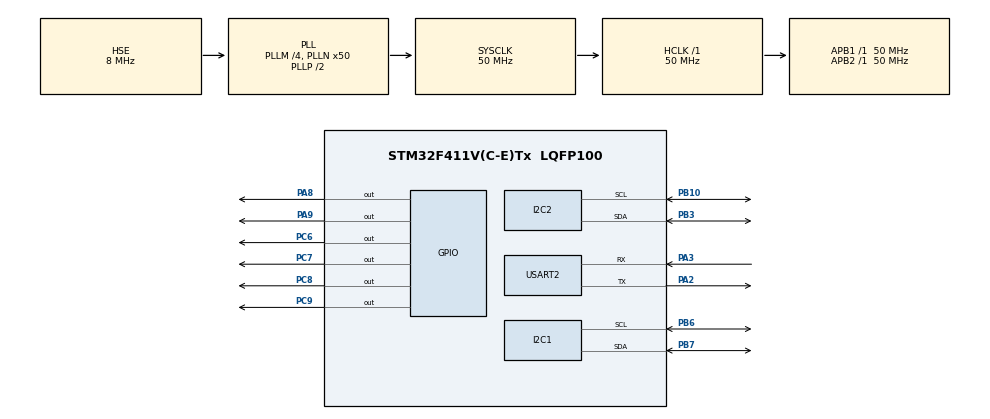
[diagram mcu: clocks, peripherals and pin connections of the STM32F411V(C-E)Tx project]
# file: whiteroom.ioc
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Mcu.Family=STM32F4
RCC.PLLSourceVirtual=RCC_PLLSOURCE_HSE
RCC.CortexFreq_Value=50000000
PB10.Mode=I2C
PH1\ -\ OSC_OUT.Mode=HSE-External-Oscillator
PC8.Signal=GPIO_Output
PC6.Signal=GPIO_Output
NVIC.USART2_IRQn=true\:0\:0\:false\:false\:true\:true\:true
RCC.SYSCLKSource=RCC_SYSCLKSOURCE_PLLCLK
ProjectManager.StackSize=0x400
PA13.Signal=SYS_JTMS-SWDIO
PA3.Mode=Asynchronous
PH0\ -\ OSC_IN.Mode=HSE-External-Oscillator
PH0\ -\ OSC_IN.Signal=RCC_OSC_IN
ProjectManager.TargetToolchain=STM32CubeIDE
RCC.HCLKFreq_Value=50000000
RCC.APB2TimFreq_Value=50000000
PA9.Signal=GPIO_Output
PB6.Signal=I2C1_SCL
PC7.Signal=GPIO_Output
PB6.Mode=I2C
RCC.LSE_VALUE=32768
RCC.AHBFreq_Value=50000000
PB10.Signal=I2C2_SCL
RCC.HSE_VALUE=8000000
PH1\ -\ OSC_OUT.Signal=RCC_OSC_OUT
PB3.Mode=I2C
board=custom
RCC.VCOOutputFreq_Value=100000000
RCC.APB2Freq_Value=50000000
VP_TIM2_VS_ClockSourceINT.Mode=Internal
PA14.Mode=Serial_Wire
PB7.Signal=I2C1_SDA
PA8.Signal=GPIO_Output
TIM2.Period=0xFFFF - 1
PA13.Mode=Serial_Wire
Mcu.Name=STM32F411V(C-E)Tx
PA2.Signal=USART2_TX
RCC.48MHZClocksFreq_Value=25000000
PB3.Signal=I2C2_SDA
RCC.SYSCLKFreq_VALUE=50000000
Mcu.Package=LQFP100
TIM2.Prescaler=50 - 1
USART2.VirtualMode=VM_ASYNC
PB7.Mode=I2C
PA14.Signal=SYS_JTCK-SWCLK
ProjectManager.HeapSize=0x200
RCC.HSI_VALUE=16000000
NVIC.PriorityGroup=NVIC_PRIORITYGROUP_4
RCC.PLLM=4
RCC.PLLN=50
RCC.APB1TimFreq_Value=50000000
PA2.Mode=Asynchronous
PC9.Signal=GPIO_Output
RCC.APB1Freq_Value=50000000
PA3.Signal=USART2_RX

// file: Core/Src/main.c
/* USER CODE BEGIN Header */
/**
  ******************************************************************************
  * @file           : main.c
  * @brief          : Main program body
  ******************************************************************************
  * @attention
  *
  * <h2><center>&copy; Copyright (c) 2021 STMicroelectronics.
  * All rights reserved.</center></h2>
  *
  * This software component is licensed by ST under BSD 3-Clause license,
  * the "License"; You may not use this file except in compliance with the
  * License. You may obtain a copy of the License at:
  *                        opensource.org/licenses/BSD-3-Clause
  *
  ******************************************************************************
  */
/* USER CODE END Header */
#include "main.h"

/* USER CODE BEGIN Includes */
#include "arm_math.h"
#include <stdio.h>
#include "BH1750_Driver.h"
#include "TCA9548A_Driver.h"
#include "StepperDriver.h"
#include "PCA9685Driver.h"

/* USER CODE END Includes */

/* USER CODE BEGIN PD */
#define NUMBER_SENSORS 12
#define DESIRE_LUX 400
#define MAX_LUMEN_LED0 3000
#define MAX_LUMEN_LED1 3000
#define MAX_LUMEN_LED2 3000
#define MAX_LUMEN_LED3 3000
#define MAX_LUMEN_LED4 3000
#define MAX_LUMEN_LED5 3000
#define MAX_LUMEN_LED6 3000
#define MAX_LUMEN_LED7 3000
#define MAX_LUMEN_LED8 3000
#define MAX_LUMEN_LED9 3000
#define MAX_LUMEN_LED10 3000
#define MAX_LUMEN_LED11 3000

#define EFFICIENCY 0.995

// The size of data transmits between PC and MicroController
#define SIZE_DATA 11

// MAX and MIN for STEPPER
#define STEP0_MAX 295
#define STEP0_MIN 55

#define STEP1_MAX 400
#define STEP1_MIN 160

#define STEP2_MAX 505
#define STEP2_MIN 265

#define SAFE_DISTANCE 105

// PCA9685
#define DELAY_LED 410

/* USER CODE END PD */

/* USER CODE BEGIN PV */
/* Private variables ---------------------------------------------------------*/
I2C_HandleTypeDef hi2c1;
I2C_HandleTypeDef hi2c2;
TIM_HandleTypeDef htim2;
UART_HandleTypeDef huart2;

const float32_t arrayFactor[NUMBER_SENSORS * NUMBER_SENSORS] = {
0.03757, 0.01759, 0.00530, 0.00240, 0.01820, 0.01053, 0.00435, 0.00227, 0.00581, 0.00471, 0.00278, 0.00184,
0.01799, 0.03400, 0.01666, 0.00544, 0.01094, 0.01653, 0.01001, 0.00436, 0.00471, 0.00563, 0.00436, 0.00284,
0.00544, 0.01666, 0.03400, 0.01799, 0.00436, 0.01001, 0.01653, 0.01094, 0.00284, 0.00436, 0.00563, 0.00471,
0.00240, 0.00530, 0.01759, 0.03757, 0.00227, 0.00435, 0.01053, 0.01820, 0.00184, 0.00278, 0.00471, 0.00581,
0.01840, 0.01073, 0.00435, 0.00236, 0.03671, 0.01760, 0.00563, 0.00270, 0.01960, 0.01160, 0.00471, 0.00244,
0.01107, 0.01673, 0.01020, 0.00436, 0.01800, 0.03357, 0.01653, 0.00567, 0.01159, 0.01800, 0.01073, 0.00494,
0.00436, 0.01020, 0.01673, 0.01107, 0.00567, 0.01653, 0.03357, 0.01800, 0.00494, 0.01073, 0.01800, 0.01159,
0.00236, 0.00435, 0.01073, 0.01840, 0.00270, 0.00563, 0.01760, 0.03671, 0.00244, 0.00471, 0.01160, 0.01960,
0.00581, 0.00456, 0.00273, 0.00175, 0.01934, 0.01160, 0.00457, 0.00253, 0.04043, 0.01906, 0.00602, 0.00264,
0.00471, 0.00563, 0.00436, 0.00290, 0.01160, 0.01760, 0.01053, 0.00471, 0.01947, 0.03671, 0.01800, 0.00600,
0.00290, 0.00436, 0.00563, 0.00471, 0.00471, 0.01053, 0.01760, 0.01160, 0.00600, 0.01800, 0.03671, 0.01947,
0.00175, 0.00273, 0.00456, 0.00581, 0.00253, 0.00457, 0.01160, 0.01934, 0.00264, 0.00602, 0.01906, 0.04043
};

float32_t arrNeedAddValue[NUMBER_SENSORS];
float32_t arrLastLedSupplied[NUMBER_SENSORS] = {};
float32_t arrLedValue[NUMBER_SENSORS];

// Messages for UART
uint8_t Hello[] = "Welcome to Project: Automatic light intensity balance\n";
uint8_t InitStepperMessage[] = "Setting Current Position of 3 Steppers: Done!\n";
uint8_t TargetStepperMessage[] = "Setting Target Position of 3 Steppers: Done!\n";
uint8_t ReInitSensorMessage[] = "Re-Initialzing Sensor: Done!\n";
uint8_t Done[] = "Running to Target Position: Done!!\n";
uint8_t controlLEDDone[] = "Send data to LED PWM: Done!\n";

// Variables for UART
uint8_t byteTest;
uint8_t dataReceived[SIZE_DATA];
uint16_t info[3];

// PROGRAM MODE
typedef enum {
	IDLE = 0,
	TEST_UART = 1,
	SET_INIT_COOR = 2,
	SET_TARGET_COOR = 3,
	RUN_STEPPER = 4,
	GET_SENSOR = 5,
	CONTROL_LED = 6,
	REINITSENSOR = 7,
	AUTO_CONTROL = 8
} PROGRAM_MODE;

PROGRAM_MODE program = IDLE;

// Variables for STEPPER
Stepper_HandleTypeDef Step0;
Stepper_HandleTypeDef Step1;
Stepper_HandleTypeDef Step2;

// Variables for Sensor and TCA
TCA9548A_HandleTypeDef i2cHub;
BH1750_HandleTypeDef sensor[NUMBER_SENSORS];
char dataSensorMessage[72] = {};
uint16_t dataSensor[NUMBER_SENSORS];
uint8_t ret;

// Variables for PCA and LED
PCA9685_HandleTypeDef pcaHub;
uint16_t intensity[NUMBER_SENSORS];
uint16_t channelON[NUMBER_SENSORS];
uint16_t channelOFF[NUMBER_SENSORS];

/* USER CODE END PV */

void SystemClock_Config(void);
static void MX_GPIO_Init(void);
static void MX_I2C1_Init(void);
static void MX_I2C2_Init(void);
static void MX_TIM2_Init(void);
static void MX_USART2_UART_Init(void);

/* USER CODE BEGIN 0 */
// Initialize Stepper, Sensor, TCA, PCA
void userStepperInit() {
	StepperInit(&Step0, GPIOA, GPIO_PIN_9, GPIO_PIN_8, 32, 0);
	StepperInit(&Step1, GPIOC, GPIO_PIN_9, GPIO_PIN_8, 32, 0);
	StepperInit(&Step2, GPIOC, GPIO_PIN_7, GPIO_PIN_6, 32, 0);
}

void userSensorInit() {
	TCA9548A_Init(&i2cHub, &hi2c1, TCA_ADDRESS);
	for (uint8_t i = 0; i < NUMBER_SENSORS / 2; i++) {
		TCA9548A_SelectSingleChannel(&i2cHub, i);
		BH1750_Init(&sensor[2 * i], &hi2c1, BH1750_ADDRESS_LOW);
		BH1750_Init(&sensor[2 * i + 1], &hi2c1, BH1750_ADDRESS_HIGH);
		BH1750_PowerState(&sensor[2 * i], 1);
		BH1750_PowerState(&sensor[2 * i + 1], 1);
		BH1750_SetMode(&sensor[2 * i], CONTINUOUS_H_RES_MODE);
		BH1750_SetMode(&sensor[2 * i + 1], CONTINUOUS_H_RES_MODE);
	}
}

void userPCAInit() {
	PCA9685_Init(&pcaHub, &hi2c2, PCA9685_I2C_ADDRESS, 0);
	PCA9685_SetOscillatorFrequency(&pcaHub, 27000000);
	PCA9685_SetPWMFreq(&pcaHub, 1600);
}

// CHOOSE THE MANUAL CONTROL PROGRAM (It's still under UART interrupt function)
void ManualControl() {
	switch (dataReceived[1]) {
	case 'T':
		program = TEST_UART;
		break;
	case 'I':
		program = SET_INIT_COOR;
		break;
	case 'A':
		program = SET_TARGET_COOR;
		break;
	case 'G':
		program = GET_SENSOR;
		break;
	case 'L':
		program = CONTROL_LED;
		break;
	case 'R':
		program = REINITSENSOR;
		break;
	}
}

// CHOOSE THE AUTO CONTROL PROGRAM (It's still under UART interrupt function)
void AutoControl() {
	program = AUTO_CONTROL;
}

// Select PROGRAM in UART interrupt function
void HAL_UART_RxCpltCallback(UART_HandleTypeDef *huart)
{
	if (huart->Instance == huart2.Instance) {
		switch (dataReceived[0]) {
		case 'M':
		  ManualControl();
		  break;
		case 'A':
		  AutoControl();
		  break;
		}
		HAL_UART_Receive_IT(huart, dataReceived, SIZE_DATA);
	}

}

// Additions function
void delay_us(uint16_t us)
{
	__HAL_TIM_SET_COUNTER(&htim2,0);  // set the counter value a 0
	while ((uint16_t)__HAL_TIM_GET_COUNTER(&htim2) < us);
}

void DecryptData() {
	info[0] = (dataReceived[2] - '0') * 100 + (dataReceived[3] - '0') * 10 + (dataReceived[4]  - '0');
	info[1] = (dataReceived[5] - '0') * 100 + (dataReceived[6] - '0') * 10 + (dataReceived[7]  - '0');
	info[2] = (dataReceived[8] - '0') * 100 + (dataReceived[9] - '0') * 10 + (dataReceived[10] - '0');
	info[3] = (dataReceived[11] - '0') * 100 + (dataReceived[12] - '0') * 10 + (dataReceived[13] - '0');
	info[4] = (dataReceived[14] - '0') * 100 + (dataReceived[15] - '0') * 10 + (dataReceived[16] - '0');
	info[5] = (dataReceived[17] - '0') * 100 + (dataReceived[18] - '0') * 10 + (dataReceived[19] - '0');
	info[6] = (dataReceived[20] - '0') * 100 + (dataReceived[21] - '0') * 10 + (dataReceived[22] - '0');
	info[7] = (dataReceived[23] - '0') * 100 + (dataReceived[24] - '0') * 10 + (dataReceived[25] - '0');
	info[8] = (dataReceived[26] - '0') * 100 + (dataReceived[27] - '0') * 10 + (dataReceived[28] - '0');
	info[9] = (dataReceived[29] - '0') * 100 + (dataReceived[30] - '0') * 10 + (dataReceived[31] - '0');
	info[10] = (dataReceived[32] - '0') * 100 + (dataReceived[33] - '0') * 10 + (dataReceived[34] - '0');
	info[11] = (dataReceived[35] - '0') * 100 + (dataReceived[36] - '0') * 10 + (dataReceived[37] - '0');
}

// Hold 3 board to avoid collision
void keepMotorSafe() {
	uint32_t X0, X1, X2;
	X0 = Step0.TargetPulse;
	X1 = Step1.TargetPulse;
	X2 = Step2.TargetPulse;

	// Step 1
	if (X1 > (STEP1_MAX * FACTOR))			X1 = STEP1_MAX * FACTOR;
	if (X1 < (STEP1_MIN * FACTOR))			X1 = STEP1_MIN * FACTOR;

	// Step 2
	if (X2 > (STEP2_MAX * FACTOR)) 			X2 = STEP2_MAX * FACTOR;
	if (X2 < (STEP2_MIN * FACTOR))			X2 = STEP2_MIN * FACTOR;
	if (X2 < (X1 + SAFE_DISTANCE * FACTOR)) X2 = X1 + SAFE_DISTANCE * FACTOR;

	// Step0
	if (X0 > (STEP0_MAX * FACTOR)) 			X0 = STEP0_MAX * FACTOR;
	if (X0 < (STEP0_MIN * FACTOR)) 			X0 = STEP0_MIN * FACTOR;
	if (X0 > (X1 - SAFE_DISTANCE * FACTOR)) X0 = X1 - SAFE_DISTANCE * FACTOR;

	Step0.TargetPulse = X0;
	Step1.TargetPulse = X1;
	Step2.TargetPulse = X2;
}

void sendUARTaInt(uint16_t num) {
	char result[4];
	sprintf(result, "%d", num);
	result[3] = '\n';
	HAL_UART_Transmit(&huart2, (uint8_t *)result, sizeof(result), 1000);
}

void sendInfoPWM() {
	uint16_t LEDOnTime;
	for (uint8_t channel = 0; channel < NUMBER_SENSORS; channel++) {
		channelON[channel] = DELAY_LED - 1;
		LEDOnTime = intensity[channel] * 4096 / 1000;
		channelOFF[channel]  = (LEDOnTime + DELAY_LED > 4096
								? LEDOnTime + DELAY_LED - 4096
								: LEDOnTime + DELAY_LED - 1);
		PCA9685_SetPWM(&pcaHub, channel, channelON[channel], channelOFF[channel]);
	}
}

// THE MAIN PROGRAMS
void TestUART() { // DONE
	HAL_UART_Transmit(&huart2, Hello, sizeof(Hello), 1000);
	program = IDLE;
}

void SetInitCoorStepper() {
	DecryptData();
	setCurrentPos(&Step0, info[0]);
	setCurrentPos(&Step1, info[1]);
	setCurrentPos(&Step2, info[2]);
	HAL_UART_Transmit(&huart2, InitStepperMessage, sizeof(InitStepperMessage), 1000);
	program = IDLE;
}

void SetTargetCoorStepper() {
	DecryptData();
	setTargetPos(&Step0, info[0]);
	setTargetPos(&Step1, info[1]);
	setTargetPos(&Step2, info[2]);
	keepMotorSafe();
	uint32_t locationStep0 = Step0.TargetPulse / FACTOR;
	uint32_t locationStep1 = Step1.TargetPulse / FACTOR;
	uint32_t locationStep2 = Step2.TargetPulse / FACTOR;
	uint8_t locationMessage[20];
	locationMessage[0] = 'T';
	locationMessage[1] = 'a';
	locationMessage[2] = 'r';
	locationMessage[3] = 'g';
	locationMessage[4] = 'e';
	locationMessage[5] = 't';
	locationMessage[6] = ':';
	locationMessage[7] = ' ';
	// Step0
	locationMessage[10] = locationStep0 % 10 + '0';
	locationMessage[9] = locationStep0 / 10 % 10 + '0';
	locationMessage[8] = locationStep0 / 100 % 10 + '0';
	locationMessage[11] = ' ';
	// Step1
	locationMessage[14] = locationStep1 % 10 + '0';
	locationMessage[13] = locationStep1 / 10 % 10 + '0';
	locationMessage[12] = locationStep1 / 100 % 10 + '0';
	locationMessage[15] = ' ';
	// Step2
	locationMessage[18] = locationStep2 % 10 + '0';
	locationMessage[17] = locationStep2 / 10 % 10 + '0';
	locationMessage[16] = locationStep2 / 100 % 10 + '0';
	locationMessage[19] = '\n';

	HAL_UART_Transmit(&huart2, locationMessage, sizeof(locationMessage), 1000);
	program = RUN_STEPPER;
}

void RunStepper() {
	uint8_t flag = 0;
	if (runToTarget(&Step0) == STEPPER_ERROR) flag = 1;
	if (runToTarget(&Step1) == STEPPER_ERROR) flag = 1;
	if (runToTarget(&Step2) == STEPPER_ERROR) flag = 1;
	if (flag == 0) {
		HAL_UART_Transmit(&huart2, Done, sizeof(Done), 1000);
		program = IDLE;
	}
}

void GetSensor() {
	for (uint8_t i = 0; i < NUMBER_SENSORS; i++) {
		TCA9548A_SelectSingleChannel(&i2cHub, (int)(i / 2));
		BH1750_ReadLight(&sensor[i], &dataSensor[i]);

		dataSensorMessage[i*6 + 5] = (i < 3) ? ' ' : '\n';
		dataSensorMessage[i*6 + 4] = dataSensor[i] % 10 + '0';
		dataSensorMessage[i*6 + 3] = dataSensor[i] / 10 % 10 + '0';
		dataSensorMessage[i*6 + 2] = dataSensor[i] / 100 % 10 + '0';
		dataSensorMessage[i*6 + 1] = dataSensor[i] / 1000 % 10 + '0';
		dataSensorMessage[i*6 + 0] = dataSensor[i] / 10000 % 10 + '0';
	}
	HAL_UART_Transmit(&huart2, (uint8_t *)dataSensorMessage, sizeof(dataSensorMessage), 24);
	program = IDLE;
}

void ControlLED() {
	DecryptData();
	for (int i = 0; i < NUMBER_SENSORS; i++) {
		intensity[i] = info[i];
	}
	sendInfoPWM();
	HAL_UART_Transmit(&huart2, controlLEDDone, sizeof(controlLEDDone), 10);
	program = IDLE;
}

void calculateLedIntensity(arm_matrix_instance_f32 *needAddValue,
						   arm_matrix_instance_f32 *ledValue) {
	int wrongValue = 0;
	int wrongIndex[NUMBER_SENSORS];
	// Loai bo cac diem anh sang tu nhien lon hon 400
	for (int i = 0; i < NUMBER_SENSORS; i++) {
		if (arrNeedAddValue[i] == 0) {
			wrongValue++;
			wrongIndex[i] = 1;
		} else {
			wrongIndex[i] = 0;
		}
	}
	do {
		float32_t copyArrFactor[NUMBER_SENSORS * NUMBER_SENSORS];
		memcpy(copyArrFactor, arrayFactor, NUMBER_SENSORS * NUMBER_SENSORS);
		arm_matrix_instance_f32 copyMatrixFactor;
		arm_mat_init_f32(&copyMatrixFactor, NUMBER_SENSORS, 1, (float32_t *)copyArrFactor);
		for (int i = 0; i < NUMBER_SENSORS; i++) {
			if (wrongIndex[i] == 1) {
				for (int j = 0; j < NUMBER_SENSORS; j++) {
					copyArrFactor[i * NUMBER_SENSORS + j] = 0.0;
					copyArrFactor[j * NUMBER_SENSORS + i] = 0.0;
				}
				copyArrFactor[i * (NUMBER_SENSORS + 1)] = 1.0;
				arrNeedAddValue[i] =  0.0;
			}
		}
		arm_matrix_instance_f32 inverseFactor;
		float32_t arrInverseFactor[NUMBER_SENSORS * NUMBER_SENSORS];
		arm_mat_init_f32(&inverseFactor, NUMBER_SENSORS, 1, (float32_t *)arrInverseFactor);
		arm_mat_inverse_f32((const arm_matrix_instance_f32 *)copyArrFactor, &inverseFactor);
		arm_mat_mult_f32(&inverseFactor, needAddValue, ledValue);
		wrongValue = 0;
		for (int i = 0; i < NUMBER_SENSORS; i++) {
			if (arrLedValue[i] < 0) {
				wrongValue++;
				wrongIndex[i] = 1;
			}
		}
	} while (program == AUTO_CONTROL);
}

void convertLumenToPWM() {
	intensity[0] = arrLedValue[0] / MAX_LUMEN_LED0 * 1000 / EFFICIENCY;
	intensity[1] = arrLedValue[1] / MAX_LUMEN_LED1 * 1000 / EFFICIENCY;
	intensity[2] = arrLedValue[2] / MAX_LUMEN_LED2 * 1000 / EFFICIENCY;
	intensity[3] = arrLedValue[3] / MAX_LUMEN_LED3 * 1000 / EFFICIENCY;
	intensity[4] = arrLedValue[4] / MAX_LUMEN_LED4 * 1000 / EFFICIENCY;
	intensity[5] = arrLedValue[5] / MAX_LUMEN_LED5 * 1000 / EFFICIENCY;
	intensity[6] = arrLedValue[6] / MAX_LUMEN_LED6 * 1000 / EFFICIENCY;
	intensity[7] = arrLedValue[7] / MAX_LUMEN_LED7 * 1000 / EFFICIENCY;
	intensity[8] = arrLedValue[8] / MAX_LUMEN_LED8 * 1000 / EFFICIENCY;
	intensity[9] = arrLedValue[9] / MAX_LUMEN_LED9 * 1000 / EFFICIENCY;
	intensity[10] = arrLedValue[10] / MAX_LUMEN_LED10 * 1000 / EFFICIENCY;
	intensity[11] = arrLedValue[11] / MAX_LUMEN_LED11 * 1000 / EFFICIENCY;
}

void automation() {
	for (int i = 0; i < NUMBER_SENSORS; i++) {
		intensity[i] = 0;
	}
	sendInfoPWM();

	arm_matrix_instance_f32 matrixFactor;
	arm_matrix_instance_f32 needAddValue;
	arm_matrix_instance_f32 lastLedSupplied;
	arm_matrix_instance_f32 ledValue;

	arm_mat_init_f32(&matrixFactor, NUMBER_SENSORS, NUMBER_SENSORS, (float32_t *)arrayFactor);
	arm_mat_init_f32(&needAddValue, NUMBER_SENSORS, 1, (float32_t *)arrNeedAddValue);
	arm_mat_init_f32(&lastLedSupplied, NUMBER_SENSORS, 1, (float32_t *)arrLastLedSupplied);
	arm_mat_init_f32(&ledValue, NUMBER_SENSORS, 1, (float32_t *)arrLedValue);

	while (program == AUTO_CONTROL) {
		// GET INPUT
		for (int i = 0; i < NUMBER_SENSORS; i++) {
			float32_t natureValue = (dataSensor[i] > arrLastLedSupplied[i])
									? dataSensor[i] - arrLastLedSupplied[i] : 0;
			arrNeedAddValue[i] = (DESIRE_LUX > natureValue)
									? DESIRE_LUX - natureValue : 0;
		}

		calculateLedIntensity(&needAddValue, &ledValue);
		arm_mat_mult_f32(&matrixFactor, &ledValue, &lastLedSupplied);
		convertLumenToPWM();
		sendInfoPWM();

	}
}

/* USER CODE END 0 */

int main(void)
{

  /* MCU Configuration--------------------------------------------------------*/

  /* Reset of all peripherals, Initializes the Flash interface and the Systick. */
  HAL_Init();

  /* Configure the system clock */
  SystemClock_Config();

  /* Initialize all configured peripherals */
  MX_GPIO_Init();
  MX_I2C1_Init();
  MX_I2C2_Init();
  MX_TIM2_Init();
  MX_USART2_UART_Init();
  /* USER CODE BEGIN 2 */
  HAL_TIM_Base_Start(&htim2);

  HAL_UART_Transmit(&huart2, Hello, sizeof(Hello), 1000);
  HAL_UART_Receive_IT(&huart2, dataReceived, SIZE_DATA);

  // User Init
  userStepperInit();
  userSensorInit();
  userPCAInit();

  /* USER CODE END 2 */

  /* Infinite loop */
  while (1)
  {

    /* USER CODE BEGIN 3 */
	  if (program == TEST_UART) {
		  TestUART();
	  } else if (program == SET_INIT_COOR) {
		  SetInitCoorStepper();
	  } else if (program == SET_TARGET_COOR) {
		  SetTargetCoorStepper();
	  } else if (program == RUN_STEPPER) {
		  RunStepper();
	  } else if (program == GET_SENSOR) {
		  GetSensor();
	  } else if (program == CONTROL_LED) {
		  ControlLED();
	  } else if (program == REINITSENSOR) {
		  HAL_UART_Transmit(&huart2, ReInitSensorMessage, sizeof(ReInitSensorMessage), 10);
		  userSensorInit();
		  program = IDLE;
	  } else if (program == AUTO_CONTROL) {
		  automation();
	  }
  }
  /* USER CODE END 3 */
}

void SystemClock_Config(void)
{
  RCC_OscInitTypeDef RCC_OscInitStruct = {0};
  RCC_ClkInitTypeDef RCC_ClkInitStruct = {0};

  /** Configure the main internal regulator output voltage
  */
  __HAL_RCC_PWR_CLK_ENABLE();
  __HAL_PWR_VOLTAGESCALING_CONFIG(PWR_REGULATOR_VOLTAGE_SCALE1);
  /** Initializes the RCC Oscillators according to the specified parameters
  * in the RCC_OscInitTypeDef structure.
  */
  RCC_OscInitStruct.OscillatorType = RCC_OSCILLATORTYPE_HSE;
  RCC_OscInitStruct.HSEState = RCC_HSE_ON;
  RCC_OscInitStruct.PLL.PLLState = RCC_PLL_ON;
  RCC_OscInitStruct.PLL.PLLSource = RCC_PLLSOURCE_HSE;
  RCC_OscInitStruct.PLL.PLLM = 4;
  RCC_OscInitStruct.PLL.PLLN = 50;
  RCC_OscInitStruct.PLL.PLLP = RCC_PLLP_DIV2;
  RCC_OscInitStruct.PLL.PLLQ = 4;
  if (HAL_RCC_OscConfig(&RCC_OscInitStruct) != HAL_OK)
  {
    Error_Handler();
  }
  /** Initializes the CPU, AHB and APB buses clocks
  */
  RCC_ClkInitStruct.ClockType = RCC_CLOCKTYPE_HCLK|RCC_CLOCKTYPE_SYSCLK
                              |RCC_CLOCKTYPE_PCLK1|RCC_CLOCKTYPE_PCLK2;
  RCC_ClkInitStruct.SYSCLKSource = RCC_SYSCLKSOURCE_PLLCLK;
  RCC_ClkInitStruct.AHBCLKDivider = RCC_SYSCLK_DIV1;
  RCC_ClkInitStruct.APB1CLKDivider = RCC_HCLK_DIV1;
  RCC_ClkInitStruct.APB2CLKDivider = RCC_HCLK_DIV1;

  if (HAL_RCC_ClockConfig(&RCC_ClkInitStruct, FLASH_LATENCY_1) != HAL_OK)
  {
    Error_Handler();
  }
}

static void MX_I2C1_Init(void)
{

  hi2c1.Instance = I2C1;
  hi2c1.Init.ClockSpeed = 100000;
  hi2c1.Init.DutyCycle = I2C_DUTYCYCLE_2;
  hi2c1.Init.OwnAddress1 = 0;
  hi2c1.Init.AddressingMode = I2C_ADDRESSINGMODE_7BIT;
  hi2c1.Init.DualAddressMode = I2C_DUALADDRESS_DISABLE;
  hi2c1.Init.OwnAddress2 = 0;
  hi2c1.Init.GeneralCallMode = I2C_GENERALCALL_DISABLE;
  hi2c1.Init.NoStretchMode = I2C_NOSTRETCH_DISABLE;
  if (HAL_I2C_Init(&hi2c1) != HAL_OK)
  {
    Error_Handler();
  }

}

static void MX_I2C2_Init(void)
{

  hi2c2.Instance = I2C2;
  hi2c2.Init.ClockSpeed = 100000;
  hi2c2.Init.DutyCycle = I2C_DUTYCYCLE_2;
  hi2c2.Init.OwnAddress1 = 0;
  hi2c2.Init.AddressingMode = I2C_ADDRESSINGMODE_7BIT;
  hi2c2.Init.DualAddressMode = I2C_DUALADDRESS_DISABLE;
  hi2c2.Init.OwnAddress2 = 0;
  hi2c2.Init.GeneralCallMode = I2C_GENERALCALL_DISABLE;
  hi2c2.Init.NoStretchMode = I2C_NOSTRETCH_DISABLE;
  if (HAL_I2C_Init(&hi2c2) != HAL_OK)
  {
    Error_Handler();
  }

}

static void MX_TIM2_Init(void)
{

  TIM_ClockConfigTypeDef sClockSourceConfig = {0};
  TIM_MasterConfigTypeDef sMasterConfig = {0};

  htim2.Instance = TIM2;
  htim2.Init.Prescaler = 50 - 1;
  htim2.Init.CounterMode = TIM_COUNTERMODE_UP;
  htim2.Init.Period = 0xFFFF - 1;
  htim2.Init.ClockDivision = TIM_CLOCKDIVISION_DIV1;
  htim2.Init.AutoReloadPreload = TIM_AUTORELOAD_PRELOAD_DISABLE;
  if (HAL_TIM_Base_Init(&htim2) != HAL_OK)
  {
    Error_Handler();
  }
  sClockSourceConfig.ClockSource = TIM_CLOCKSOURCE_INTERNAL;
  if (HAL_TIM_ConfigClockSource(&htim2, &sClockSourceConfig) != HAL_OK)
  {
    Error_Handler();
  }
  sMasterConfig.MasterOutputTrigger = TIM_TRGO_RESET;
  sMasterConfig.MasterSlaveMode = TIM_MASTERSLAVEMODE_DISABLE;
  if (HAL_TIMEx_MasterConfigSynchronization(&htim2, &sMasterConfig) != HAL_OK)
  {
    Error_Handler();
  }

}

static void MX_USART2_UART_Init(void)
{

  huart2.Instance = USART2;
  huart2.Init.BaudRate = 115200;
  huart2.Init.WordLength = UART_WORDLENGTH_8B;
  huart2.Init.StopBits = UART_STOPBITS_1;
  huart2.Init.Parity = UART_PARITY_NONE;
  huart2.Init.Mode = UART_MODE_TX_RX;
  huart2.Init.HwFlowCtl = UART_HWCONTROL_NONE;
  huart2.Init.OverSampling = UART_OVERSAMPLING_16;
  if (HAL_UART_Init(&huart2) != HAL_OK)
  {
    Error_Handler();
  }

}

static void MX_GPIO_Init(void)
{
  GPIO_InitTypeDef GPIO_InitStruct = {0};

  /* GPIO Ports Clock Enable */
  __HAL_RCC_GPIOH_CLK_ENABLE();
  __HAL_RCC_GPIOA_CLK_ENABLE();
  __HAL_RCC_GPIOB_CLK_ENABLE();
  __HAL_RCC_GPIOC_CLK_ENABLE();

  /*Configure GPIO pin Output Level */
  HAL_GPIO_WritePin(GPIOC, GPIO_PIN_6|GPIO_PIN_7|GPIO_PIN_8|GPIO_PIN_9, GPIO_PIN_RESET);

  /*Configure GPIO pin Output Level */
  HAL_GPIO_WritePin(GPIOA, GPIO_PIN_8|GPIO_PIN_9, GPIO_PIN_RESET);

  /*Configure GPIO pins : PC6 PC7 PC8 PC9 */
  GPIO_InitStruct.Pin = GPIO_PIN_6|GPIO_PIN_7|GPIO_PIN_8|GPIO_PIN_9;
  GPIO_InitStruct.Mode = GPIO_MODE_OUTPUT_PP;
  GPIO_InitStruct.Pull = GPIO_NOPULL;
  GPIO_InitStruct.Speed = GPIO_SPEED_FREQ_LOW;
  HAL_GPIO_Init(GPIOC, &GPIO_InitStruct);

  /*Configure GPIO pins : PA8 PA9 */
  GPIO_InitStruct.Pin = GPIO_PIN_8|GPIO_PIN_9;
  GPIO_InitStruct.Mode = GPIO_MODE_OUTPUT_PP;
  GPIO_InitStruct.Pull = GPIO_NOPULL;
  GPIO_InitStruct.Speed = GPIO_SPEED_FREQ_LOW;
  HAL_GPIO_Init(GPIOA, &GPIO_InitStruct);

}

void Error_Handler(void)
{
  __disable_irq();
  while (1)
  {
  }
}

/************************ (C) COPYRIGHT STMicroelectronics *****END OF FILE****/
